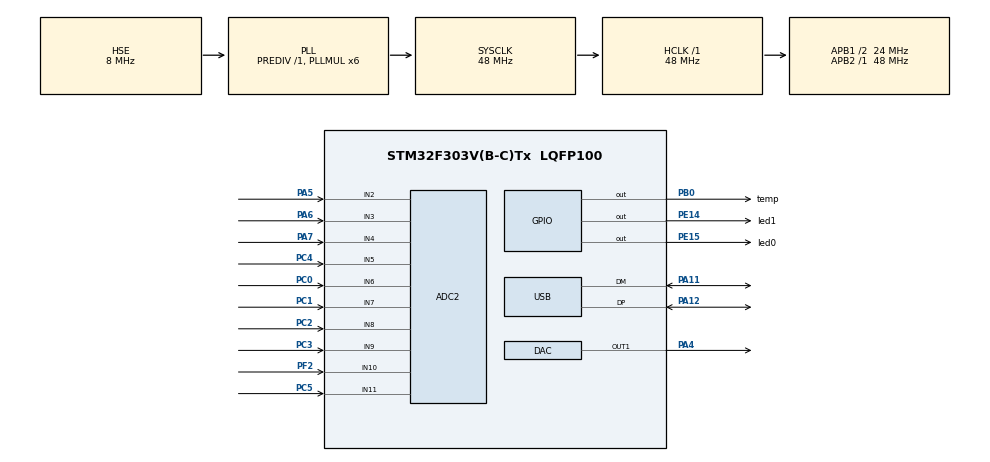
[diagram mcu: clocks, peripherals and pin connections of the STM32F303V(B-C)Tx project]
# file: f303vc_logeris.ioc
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ADC2.Channel-0\#ChannelRegularConversion=ADC_CHANNEL_2
ADC2.Channel-1\#ChannelRegularConversion=ADC_CHANNEL_3
ADC2.Channel-2\#ChannelRegularConversion=ADC_CHANNEL_4
ADC2.Channel-3\#ChannelRegularConversion=ADC_CHANNEL_5
ADC2.Channel-4\#ChannelRegularConversion=ADC_CHANNEL_6
ADC2.Channel-5\#ChannelRegularConversion=ADC_CHANNEL_7
ADC2.Channel-6\#ChannelRegularConversion=ADC_CHANNEL_8
ADC2.Channel-7\#ChannelRegularConversion=ADC_CHANNEL_9
ADC2.Channel-8\#ChannelRegularConversion=ADC_CHANNEL_10
ADC2.Channel-9\#ChannelRegularConversion=ADC_CHANNEL_11
ADC2.DMAContinuousRequests=ENABLE
ADC2.EOCSelection=ADC_EOC_SEQ_CONV
ADC2.ExternalTrigConv=ADC_EXTERNALTRIGCONV_T3_TRGO
ADC2.NbrOfConversion=10
ADC2.NbrOfConversionFlag=1
ADC2.Offset-0\#ChannelRegularConversion=0
ADC2.Offset-1\#ChannelRegularConversion=0
ADC2.Offset-2\#ChannelRegularConversion=0
ADC2.Offset-3\#ChannelRegularConversion=0
ADC2.Offset-4\#ChannelRegularConversion=0
ADC2.Offset-5\#ChannelRegularConversion=0
ADC2.Offset-6\#ChannelRegularConversion=0
ADC2.Offset-7\#ChannelRegularConversion=0
ADC2.Offset-8\#ChannelRegularConversion=0
ADC2.Offset-9\#ChannelRegularConversion=0
ADC2.OffsetNumber-0\#ChannelRegularConversion=ADC_OFFSET_NONE
ADC2.OffsetNumber-1\#ChannelRegularConversion=ADC_OFFSET_NONE
ADC2.OffsetNumber-2\#ChannelRegularConversion=ADC_OFFSET_NONE
ADC2.OffsetNumber-3\#ChannelRegularConversion=ADC_OFFSET_NONE
ADC2.OffsetNumber-4\#ChannelRegularConversion=ADC_OFFSET_NONE
ADC2.OffsetNumber-5\#ChannelRegularConversion=ADC_OFFSET_NONE
ADC2.OffsetNumber-6\#ChannelRegularConversion=ADC_OFFSET_NONE
ADC2.OffsetNumber-7\#ChannelRegularConversion=ADC_OFFSET_NONE
ADC2.OffsetNumber-8\#ChannelRegularConversion=ADC_OFFSET_NONE
ADC2.OffsetNumber-9\#ChannelRegularConversion=ADC_OFFSET_NONE
ADC2.Rank-0\#ChannelRegularConversion=1
ADC2.Rank-1\#ChannelRegularConversion=2
ADC2.Rank-2\#ChannelRegularConversion=3
ADC2.Rank-3\#ChannelRegularConversion=4
ADC2.Rank-4\#ChannelRegularConversion=5
ADC2.Rank-5\#ChannelRegularConversion=6
ADC2.Rank-6\#ChannelRegularConversion=7
ADC2.Rank-7\#ChannelRegularConversion=8
ADC2.Rank-8\#ChannelRegularConversion=9
ADC2.Rank-9\#ChannelRegularConversion=10
ADC2.SamplingTime-0\#ChannelRegularConversion=ADC_SAMPLETIME_181CYCLES_5
ADC2.SamplingTime-1\#ChannelRegularConversion=ADC_SAMPLETIME_181CYCLES_5
ADC2.SamplingTime-2\#ChannelRegularConversion=ADC_SAMPLETIME_181CYCLES_5
ADC2.SamplingTime-3\#ChannelRegularConversion=ADC_SAMPLETIME_181CYCLES_5
ADC2.SamplingTime-4\#ChannelRegularConversion=ADC_SAMPLETIME_181CYCLES_5
ADC2.SamplingTime-5\#ChannelRegularConversion=ADC_SAMPLETIME_181CYCLES_5
ADC2.SamplingTime-6\#ChannelRegularConversion=ADC_SAMPLETIME_181CYCLES_5
ADC2.SamplingTime-7\#ChannelRegularConversion=ADC_SAMPLETIME_181CYCLES_5
ADC2.SamplingTime-8\#ChannelRegularConversion=ADC_SAMPLETIME_181CYCLES_5
ADC2.SamplingTime-9\#ChannelRegularConversion=ADC_SAMPLETIME_181CYCLES_5
DAC.DAC_Trigger=DAC_TRIGGER_T7_TRGO
Dma.ADC2.0.Direction=DMA_PERIPH_TO_MEMORY
Dma.ADC2.0.Instance=DMA2_Channel1
Dma.ADC2.0.MemDataAlignment=DMA_MDATAALIGN_HALFWORD
Dma.ADC2.0.MemInc=DMA_MINC_ENABLE
Dma.ADC2.0.Mode=DMA_CIRCULAR
Dma.ADC2.0.PeriphDataAlignment=DMA_PDATAALIGN_HALFWORD
Dma.ADC2.0.PeriphInc=DMA_PINC_DISABLE
Dma.ADC2.0.Priority=DMA_PRIORITY_LOW
Dma.DAC_CH1.1.Direction=DMA_MEMORY_TO_PERIPH
Dma.DAC_CH1.1.Instance=DMA1_Channel3
Dma.DAC_CH1.1.MemDataAlignment=DMA_MDATAALIGN_HALFWORD
Dma.DAC_CH1.1.MemInc=DMA_MINC_ENABLE
Dma.DAC_CH1.1.Mode=DMA_CIRCULAR
Dma.DAC_CH1.1.PeriphDataAlignment=DMA_PDATAALIGN_HALFWORD
Dma.DAC_CH1.1.PeriphInc=DMA_PINC_DISABLE
Dma.DAC_CH1.1.Priority=DMA_PRIORITY_HIGH
Dma.Request0=ADC2
Dma.Request1=DAC_CH1
Mcu.Family=STM32F3
Mcu.Name=STM32F303V(B-C)Tx
Mcu.Package=LQFP100
NVIC.DMA1_Channel3_IRQn=true\:0\:0\:false\:false\:true\:false\:true
NVIC.DMA2_Channel1_IRQn=true\:0\:0\:false\:false\:true\:false\:true
NVIC.PriorityGroup=NVIC_PRIORITYGROUP_4
NVIC.TIM6_DAC_IRQn=true\:0\:0\:false\:false\:true\:true\:true
NVIC.USB_LP_CAN_RX0_IRQn=true\:0\:0\:false\:false\:true\:false\:true
PA11.Mode=Device
PA11.Signal=USB_DM
PA12.Mode=Device
PA12.Signal=USB_DP
PA13.Mode=Serial_Wire
PA13.Signal=SYS_JTMS-SWDIO
PA14.Mode=Serial_Wire
PA14.Signal=SYS_JTCK-SWCLK
PA4.Signal=COMP_DAC1_group
PA5.Mode=IN2-Single-Ended
PA5.Signal=ADC2_IN2
PA6.Mode=IN3-Single-Ended
PA6.Signal=ADC2_IN3
PA7.Mode=IN4-Single-Ended
PA7.Signal=ADC2_IN4
PB0.GPIO_Label=temp
PB0.GPIO_Speed=GPIO_SPEED_FREQ_HIGH
PB0.Signal=GPIO_Output
PC0.Signal=ADCx_IN6
PC1.Signal=ADCx_IN7
PC2.Signal=ADCx_IN8
PC3.Signal=ADCx_IN9
PC4.Mode=IN5-Single-Ended
PC4.Signal=ADC2_IN5
PC5.Mode=IN11-Single-Ended
PC5.Signal=ADC2_IN11
PE14.GPIO_Label=led1
PE14.Signal=GPIO_Output
PE15.GPIO_Label=led0
PE15.Signal=GPIO_Output
PF0-OSC_IN.Mode=HSE-External-Oscillator
PF0-OSC_IN.Signal=RCC_OSC_IN
PF1-OSC_OUT.Mode=HSE-External-Oscillator
PF1-OSC_OUT.Signal=RCC_OSC_OUT
PF2.Signal=ADCx_IN10
ProjectManager.HeapSize=0x200
ProjectManager.StackSize=0x400
ProjectManager.TargetToolchain=STM32CubeIDE
RCC.AHBFreq_Value=48000000
RCC.APB1CLKDivider=RCC_HCLK_DIV2
RCC.APB1Freq_Value=24000000
RCC.APB1TimFreq_Value=48000000
RCC.APB2Freq_Value=48000000
RCC.APB2TimFreq_Value=48000000
RCC.CortexFreq_Value=48000000
RCC.HCLKFreq_Value=48000000
RCC.HSE_VALUE=8000000
RCC.HSI_VALUE=8000000
RCC.LSE_VALUE=32768
RCC.PLLMUL=RCC_PLL_MUL6
RCC.SYSCLKFreq_VALUE=48000000
RCC.SYSCLKSourceVirtual=RCC_SYSCLKSOURCE_PLLCLK
RCC.USBFreq_Value=48000000
SH.ADCx_IN10.0=ADC2_IN10,IN10-Single-Ended
SH.ADCx_IN6.0=ADC2_IN6,IN6-Single-Ended
SH.ADCx_IN7.0=ADC2_IN7,IN7-Single-Ended
SH.ADCx_IN8.0=ADC2_IN8,IN8-Single-Ended
SH.ADCx_IN9.0=ADC2_IN9,IN9-Single-Ended
SH.COMP_DAC1_group.0=DAC_OUT1,DAC_OUT1
TIM3.AutoReloadPreload=TIM_AUTORELOAD_PRELOAD_ENABLE
TIM3.Channel-Output\ Compare4\ No\ Output=TIM_CHANNEL_4
TIM3.Period=1000-1
TIM3.Prescaler=48000-1
TIM3.TIM_MasterOutputTrigger=TIM_TRGO_UPDATE
TIM6.Period=0xfff
TIM6.Prescaler=48-1
TIM7.AutoReloadPreload=TIM_AUTORELOAD_PRELOAD_ENABLE
TIM7.Period=200-1
TIM7.Prescaler=48-1
TIM7.TIM_MasterOutputTrigger=TIM_TRGO_UPDATE
USB_DEVICE.CLASS_NAME_FS=CDC
USB_DEVICE.PRODUCT_STRING_CDC_FS=STM32_Logeris
USB_DEVICE.VirtualMode=Cdc
USB_DEVICE.VirtualModeFS=Cdc_FS
VP_TIM3_VS_ClockSourceINT.Mode=Internal
VP_TIM3_VS_no_output4.Mode=Output Compare4 No Output
VP_TIM6_VS_ClockSourceINT.Mode=Enable_Timer
VP_TIM7_VS_ClockSourceINT.Mode=Enable_Timer
VP_USB_DEVICE_VS_USB_DEVICE_CDC_FS.Mode=CDC_FS
board=custom

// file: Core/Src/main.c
/* USER CODE BEGIN Header */
/**
 ******************************************************************************
 * @file           : main.c
 * @brief          : Main program body
 ******************************************************************************
 * @attention
 *
 * <h2><center>&copy; Copyright (c) 2020 STMicroelectronics.
 * All rights reserved.</center></h2>
 *
 * This software component is licensed by ST under BSD 3-Clause license,
 * the "License"; You may not use this file except in compliance with the
 * License. You may obtain a copy of the License at:
 *                        opensource.org/licenses/BSD-3-Clause
 *
 ******************************************************************************
 */
/* USER CODE END Header */
#include "main.h"
#include "adc.h"
#include "dac.h"
#include "dma.h"
#include "tim.h"
#include "usb_device.h"
#include "gpio.h"

/* USER CODE BEGIN Includes */

#include "usbd_cdc_if.h"
#include "math.h"

/* USER CODE END Includes */

/* USER CODE BEGIN PD */

#define N_OF_CHANNELS 10
#define DAC_SIGNAL_STEPS 100
#define CHANGE_SINE_F(f) TIM7->ARR = ( 1.0 / f * HAL_RCC_GetHCLKFreq() / (TIM7->PSC+1) / DAC_SIGNAL_STEPS) - 1

/* USER CODE END PD */

/* USER CODE BEGIN PV */

struct {
	uint8_t adcDone :1;
	uint8_t usbDRDY :1;
	uint8_t start :1;
	uint8_t rem :5;
} mFlags;

struct {
	uint8_t *data;
	uint32_t len;
} mUSB_data;

volatile struct {
	int16_t adcData[N_OF_CHANNELS];
	int16_t temperatura;
} mPacket;

int16_t TEMP;
float Temperature = 0;
uint8_t Presence = 0;

/* USER CODE END PV */

void SystemClock_Config(void);
/* USER CODE BEGIN PFP */
void generateSine(uint16_t *array, uint32_t len, uint16_t amplitude);
void ledsToggle();
void delay(uint16_t time);
void Set_Pin_Output(GPIO_TypeDef *GPIOx, uint16_t GPIO_Pin);
void Set_Pin_Input(GPIO_TypeDef *GPIOx, uint16_t GPIO_Pin);
uint8_t DS18B20_Start(void);
void DS18B20_Write(uint8_t data);
uint8_t DS18B20_Read(void);
void measTemp();

void HAL_ADC_ConvCpltCallback(ADC_HandleTypeDef *hadc) {
	mFlags.adcDone = 1;
}

void CDC_ReceiveCallback(uint8_t *buf, uint32_t len) {
	mUSB_data.data = buf;
	mUSB_data.len = len;
	mFlags.usbDRDY = 1;
}

/* USER CODE END PFP */

int main(void) {
	/* USER CODE BEGIN 1 */
	uint16_t dacSignal[DAC_SIGNAL_STEPS] = { 0 };
	generateSine(dacSignal, DAC_SIGNAL_STEPS, 2000);

	/* USER CODE END 1 */

	/* MCU Configuration--------------------------------------------------------*/

	/* Reset of all peripherals, Initializes the Flash interface and the Systick. */
	HAL_Init();

	/* Configure the system clock */
	SystemClock_Config();

	/* Initialize all configured peripherals */
	MX_GPIO_Init();
	MX_DMA_Init();
	MX_ADC2_Init();
	MX_USB_DEVICE_Init();
	MX_TIM3_Init();
	MX_TIM6_Init();
	MX_DAC_Init();
	MX_TIM7_Init();
	/* USER CODE BEGIN 2 */
	HAL_GPIO_TogglePin(led1_GPIO_Port, led1_Pin);

	CHANGE_SINE_F(50);

	HAL_DAC_Start_DMA(&hdac, DAC_CHANNEL_1, (uint32_t*) dacSignal, DAC_SIGNAL_STEPS, DAC_ALIGN_12B_R);
	HAL_TIM_Base_Start(&htim7);	// Timer for sine wave

	HAL_ADC_Start_DMA(&hadc2, (uint32_t*) mPacket.adcData, N_OF_CHANNELS);
	HAL_TIM_Base_Start(&htim3); // Timer for ADC

	HAL_TIM_Base_Start(&htim6); // Timer for OneWire protocol delays

	/* USER CODE END 2 */

	/* Infinite loop */
	/* USER CODE BEGIN WHILE */
	while (1) {
		if (mFlags.usbDRDY) {
			switch (*mUSB_data.data) {
			case 0:
			case 1:
				mFlags.start = *mUSB_data.data;
				break;
			case 2:
				// Change ADC timer period
				if (mUSB_data.len == 3)
					TIM3->ARR = *(uint16_t*) (mUSB_data.data + 1) - 1 < 299 ? 299 : *(uint16_t*) (mUSB_data.data + 1) - 1;
				break;
			case 3:
				// Change sine wave frequency
				CHANGE_SINE_F(*(uint16_t* ) (mUSB_data.data + 1));
				break;
			case 4:
				// Change sine wave amplitude
				generateSine(dacSignal, DAC_SIGNAL_STEPS, *(uint16_t*) (mUSB_data.data + 1));
			default:
				break;
			}
			mFlags.usbDRDY = 0;
		}

		if (mFlags.adcDone) {
			mFlags.adcDone = 0;
			ledsToggle();
			measTemp();
			mPacket.temperatura = TEMP;

			if (mFlags.start)
				CDC_Transmit_FS((uint8_t*) mPacket.adcData, N_OF_CHANNELS * 2 + 2);
		}

		/* USER CODE END WHILE */

	}
}

void SystemClock_Config(void) {
	RCC_OscInitTypeDef RCC_OscInitStruct = { 0 };
	RCC_ClkInitTypeDef RCC_ClkInitStruct = { 0 };
	RCC_PeriphCLKInitTypeDef PeriphClkInit = { 0 };

	/** Initializes the RCC Oscillators according to the specified parameters
	 * in the RCC_OscInitTypeDef structure.
	 */
	RCC_OscInitStruct.OscillatorType = RCC_OSCILLATORTYPE_HSE;
	RCC_OscInitStruct.HSEState = RCC_HSE_ON;
	RCC_OscInitStruct.HSEPredivValue = RCC_HSE_PREDIV_DIV1;
	RCC_OscInitStruct.HSIState = RCC_HSI_ON;
	RCC_OscInitStruct.PLL.PLLState = RCC_PLL_ON;
	RCC_OscInitStruct.PLL.PLLSource = RCC_PLLSOURCE_HSE;
	RCC_OscInitStruct.PLL.PLLMUL = RCC_PLL_MUL6;
	if (HAL_RCC_OscConfig(&RCC_OscInitStruct) != HAL_OK) {
		Error_Handler();
	}
	/** Initializes the CPU, AHB and APB buses clocks
	 */
	RCC_ClkInitStruct.ClockType = RCC_CLOCKTYPE_HCLK | RCC_CLOCKTYPE_SYSCLK | RCC_CLOCKTYPE_PCLK1 | RCC_CLOCKTYPE_PCLK2;
	RCC_ClkInitStruct.SYSCLKSource = RCC_SYSCLKSOURCE_PLLCLK;
	RCC_ClkInitStruct.AHBCLKDivider = RCC_SYSCLK_DIV1;
	RCC_ClkInitStruct.APB1CLKDivider = RCC_HCLK_DIV2;
	RCC_ClkInitStruct.APB2CLKDivider = RCC_HCLK_DIV1;

	if (HAL_RCC_ClockConfig(&RCC_ClkInitStruct, FLASH_LATENCY_1) != HAL_OK) {
		Error_Handler();
	}
	PeriphClkInit.PeriphClockSelection = RCC_PERIPHCLK_USB | RCC_PERIPHCLK_ADC12;
	PeriphClkInit.Adc12ClockSelection = RCC_ADC12PLLCLK_DIV1;
	PeriphClkInit.USBClockSelection = RCC_USBCLKSOURCE_PLL;
	if (HAL_RCCEx_PeriphCLKConfig(&PeriphClkInit) != HAL_OK) {
		Error_Handler();
	}
}

/* USER CODE BEGIN 4 */
void generateSine(uint16_t *array, uint32_t len, uint16_t amplitude) {
	amplitude /= 2;
	//	Generate sine wave for DAC
	for (uint8_t i = 0; i < len; i++) {
		*(uint16_t*) (array + i) = amplitude + amplitude * sin(2 * M_PI * i / len);
	}
}

void ledsToggle() {
	HAL_GPIO_TogglePin(led0_GPIO_Port, led0_Pin);
	HAL_GPIO_TogglePin(led1_GPIO_Port, led1_Pin);
}

void delay(uint16_t time) {
	/* change your code here for the delay in microseconds */
	__HAL_TIM_SET_COUNTER(&htim6, 0);
	while ((__HAL_TIM_GET_COUNTER(&htim6)) < time)
		;
}

void Set_Pin_Output(GPIO_TypeDef *GPIOx, uint16_t GPIO_Pin) {
	GPIO_InitTypeDef GPIO_InitStruct = { 0 };
	GPIO_InitStruct.Pin = GPIO_Pin;
	GPIO_InitStruct.Mode = GPIO_MODE_OUTPUT_PP;
	GPIO_InitStruct.Speed = GPIO_SPEED_FREQ_LOW;
	HAL_GPIO_Init(GPIOx, &GPIO_InitStruct);
}

void Set_Pin_Input(GPIO_TypeDef *GPIOx, uint16_t GPIO_Pin) {
	GPIO_InitTypeDef GPIO_InitStruct = { 0 };
	GPIO_InitStruct.Pin = GPIO_Pin;
	GPIO_InitStruct.Mode = GPIO_MODE_INPUT;
	GPIO_InitStruct.Pull = GPIO_PULLUP;
	HAL_GPIO_Init(GPIOx, &GPIO_InitStruct);
}

uint8_t DS18B20_Start(void) {
	uint8_t Response = 0;
	Set_Pin_Output(temp_GPIO_Port, temp_Pin);   // set the pin as output
	HAL_GPIO_WritePin(temp_GPIO_Port, temp_Pin, 0);  // pull the pin low
	delay(480);   // delay according to datasheet

	Set_Pin_Input(temp_GPIO_Port, temp_Pin);    // set the pin as input
	delay(80);    // delay according to datasheet

	if (!(HAL_GPIO_ReadPin(temp_GPIO_Port, temp_Pin)))
		Response = 1;    // if the pin is low i.e the presence pulse is detected
	else
		Response = -1;

	delay(400); // 480 us delay totally.

	return Response;
}

void DS18B20_Write(uint8_t data) {
	Set_Pin_Output(temp_GPIO_Port, temp_Pin);  // set as output
//	delay(1);

	for (int i = 0; i < 8; i++) {

		if ((data & (1 << i)) != 0)  // if the bit is high
				{
			// write 1

			Set_Pin_Output(temp_GPIO_Port, temp_Pin);  // set as output
			HAL_GPIO_WritePin(temp_GPIO_Port, temp_Pin, 0);  // pull the pin LOW
			delay(1);  // wait for 1 us

			Set_Pin_Input(temp_GPIO_Port, temp_Pin);  // set as input
//			HAL_GPIO_WritePin (temp_GPIO_Port, temp_Pin, 1);
			delay(60);  // wait for 60 us
		}

		else  // if the bit is low
		{
			// write 0

			Set_Pin_Output(temp_GPIO_Port, temp_Pin);
			HAL_GPIO_WritePin(temp_GPIO_Port, temp_Pin, 0);  // pull the pin LOW
			delay(60);  // wait for 60 us

			Set_Pin_Input(temp_GPIO_Port, temp_Pin);
		}
	}
}

uint8_t DS18B20_Read(void) {
	uint8_t value = 0;
	uint8_t nuskaityta = 0;

	Set_Pin_Input(temp_GPIO_Port, temp_Pin);

	for (int i = 0; i < 8; i++) {
		Set_Pin_Output(temp_GPIO_Port, temp_Pin);   // set as output
		HAL_GPIO_WritePin(temp_GPIO_Port, temp_Pin, 0);  // pull the data pin LOW
		delay(2);  // wait for > 1us

		Set_Pin_Input(temp_GPIO_Port, temp_Pin);  // set as input
		delay(8);

		nuskaityta = HAL_GPIO_ReadPin(temp_GPIO_Port, temp_Pin);

		value |= nuskaityta << i;  // read = 1

		delay(60);  // wait for 60 us
	}
	return value;
}

void measTemp() {

	uint8_t Temp_byte1, Temp_byte2;

	Presence = DS18B20_Start();
	HAL_Delay(1);
	DS18B20_Write(0xCC);  // skip ROM
	DS18B20_Write(0x44);  // convert t

	do {
		HAL_Delay(1);
		Set_Pin_Output(temp_GPIO_Port, temp_Pin);   // set as output

		HAL_GPIO_WritePin(temp_GPIO_Port, temp_Pin, 0);  // pull the data pin LOW
		delay(2);  // wait for > 1us

		Set_Pin_Input(temp_GPIO_Port, temp_Pin);  // set as input
		delay(10);
	} while (!HAL_GPIO_ReadPin(temp_GPIO_Port, temp_Pin));

	Presence = DS18B20_Start();
	HAL_Delay(1);
	DS18B20_Write(0xCC);  // skip ROM
	DS18B20_Write(0xBE);  // Read Scratch-pad
	HAL_Delay(1);

	Temp_byte1 = DS18B20_Read();
	Temp_byte2 = DS18B20_Read();
	TEMP = (Temp_byte2 << 8) | Temp_byte1;
	Temperature = (float) TEMP / 16;
}

/* USER CODE END 4 */

void Error_Handler(void) {
}

/************************ (C) COPYRIGHT STMicroelectronics *****END OF FILE****/
